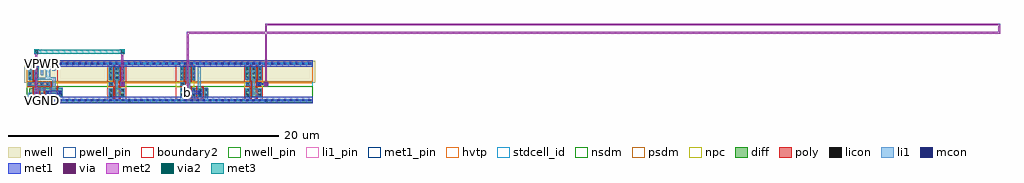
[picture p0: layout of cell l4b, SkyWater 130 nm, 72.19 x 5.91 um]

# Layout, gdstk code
import gdstk
lib = gdstk.Library(unit=1e-6, precision=1e-09)
def R(c, l, rs):  # rectangles x0, y0, x1, y1
    for r in rs: c.add(gdstk.rectangle(r[:2], r[2:], *l))
def A(c, l, x, y, w, h, nx, ny, dx, dy):  # array of equal rectangles
    R(c, l, [(x+i*dx, y+j*dy, x+i*dx+w, y+j*dy+h) for i in range(nx) for j in range(ny)])
nwell_pin = (64, 16)
nwell = (64, 20)
diff = (65, 20)
poly = (66, 20)
licon = (66, 44)
li1_pin = (67, 16)
li1 = (67, 20)
mcon = (67, 44)
met1_pin = (68, 16)
met1 = (68, 20)
via = (68, 44)
met2 = (69, 20)
via2 = (69, 44)
met3 = (70, 20)
hvtp = (78, 44)
stdcell_id = (81, 4)
nsdm = (93, 44)
psdm = (94, 20)
npc = (95, 20)
pwell_pin = (122, 16)
boundary2 = (236, 0)

l4b = lib.new_cell('l4b')
R(l4b, nwell_pin, [(7.46,2.61,7.745,2.765), (17.58,2.61,17.865,2.765), (0.145,2.635,0.315,2.805), (6.12,2.635,6.29,2.805), (11.185,2.635,11.355,2.805), (11.185,2.635,11.355,2.805), (16.24,2.635,16.41,2.805), (2.475,2.65,2.6,2.78), (4.315,2.65,4.44,2.78), (12.595,2.65,12.72,2.78), (14.435,2.65,14.56,2.78)])
R(l4b, nwell, [(-0.19,1.305,2.49,2.91), (2.11,1.305,4.33,2.91), (3.95,1.305,6.17,2.91), (5.79,1.305,7.55,2.91), (7.17,1.305,11.23,2.91), (10.85,1.305,12.65,2.91), (12.23,1.305,14.45,2.91), (14.07,1.305,16.29,2.91), (15.91,1.305,17.67,2.91), (17.29,1.305,21.35,2.91)])
R(l4b, diff, [(0.185,0.235,2.64,0.885), (6.135,0.235,7.225,0.885), (11.38,0.235,13.44,0.885), (16.255,0.235,17.345,0.885), (0.185,1.485,0.855,2.485), (6.135,1.485,7.225,2.485), (11.38,1.485,12.47,2.485), (16.255,1.485,17.345,2.485)])
A(l4b, poly, 0.865, 0.105, 0.15, 1.25, 3, 1, 0.42, 0)
A(l4b, poly, 0.595, 0.995, 0.27, 0.33, 3, 1, 0.42, 0)
R(l4b, poly, [(1.705,-0.045,2.37,0.105), (2.22,-0.045,2.37,1.015), (11.64,-0.045,12.21,0.105), (12.06,-0.045,12.21,1.015), (12.06,-0.045,12.69,0.105), (12.54,-0.045,12.69,1.015), (12.54,-0.045,13.11,0.105), (12.96,-0.045,13.11,1.015), (0.445,0.105,0.595,2.615), (6.395,0.105,6.545,2.615), (6.815,0.105,6.965,2.615), (11.64,0.105,11.79,2.615), (16.515,0.105,16.665,2.615), (16.935,0.105,17.085,2.615), (0.105,0.995,0.445,1.325), (6.085,0.995,6.395,1.325), (6.965,0.995,7.255,1.325), (11.36,0.995,11.64,1.325), (16.205,0.995,16.515,1.325), (17.085,0.995,17.375,1.325), (12.06,1.355,12.21,2.765), (11.64,2.615,12.21,2.765)])
A(l4b, licon, 11.42, 0.315, 0.17, 0.17, 3, 2, 0.42, 0.34)
A(l4b, licon, 0.645, 1.075, 0.17, 0.17, 3, 1, 0.42, 0)
A(l4b, licon, 0.225, 1.575, 0.17, 0.17, 1, 3, 0, 0.34)
A(l4b, licon, 0.645, 1.575, 0.17, 0.17, 1, 3, 0, 0.34)
A(l4b, licon, 6.175, 1.575, 0.17, 0.17, 3, 3, 0.42, 0.34)
A(l4b, licon, 11.42, 1.575, 0.17, 0.17, 3, 3, 0.42, 0.34)
A(l4b, licon, 16.295, 1.575, 0.17, 0.17, 3, 3, 0.42, 0.34)
R(l4b, licon, [(0.225,0.295,0.395,0.465), (1.065,0.295,1.235,0.465), (6.175,0.295,6.345,0.465), (7.015,0.295,7.185,0.465), (16.295,0.295,16.465,0.465), (17.135,0.295,17.305,0.465), (1.905,0.3,2.075,0.47), (12.74,0.315,12.91,0.485), (13.22,0.315,13.39,0.485), (0.645,0.335,0.815,0.505), (1.485,0.335,1.655,0.505), (2.42,0.335,2.59,0.505), (6.175,0.635,6.345,0.805), (7.015,0.635,7.185,0.805), (16.295,0.635,16.465,0.805), (17.135,0.635,17.305,0.805), (12.74,0.655,12.91,0.825), (13.22,0.655,13.39,0.825), (0.185,1.075,0.355,1.245), (6.16,1.075,6.33,1.245), (7,1.075,7.17,1.245), (11.44,1.075,11.61,1.245), (16.28,1.075,16.45,1.245), (17.12,1.075,17.29,1.245)])
A(l4b, li1_pin, 0.145, 1.105, 0.17, 0.17, 5, 1, 0.46, 0)
A(l4b, li1_pin, 6.12, 1.105, 0.17, 0.17, 3, 1, 0.46, 0)
A(l4b, li1_pin, 16.24, 1.105, 0.17, 0.17, 3, 1, 0.46, 0)
R(l4b, li1_pin, [(6.58,0.425,6.75,0.595), (16.7,0.425,16.87,0.595), (1.985,0.765,2.155,0.935), (6.58,0.765,6.75,0.935), (16.7,0.765,16.87,0.935), (11.4,1.105,11.57,1.275), (11.86,1.105,12.03,1.275), (1.985,1.445,2.155,1.615), (11.86,1.445,12.03,1.615)])
A(l4b, li1, 11.36, 0.005, 0.23, 0.9, 3, 1, 0.9, 0)
R(l4b, li1, [(0,-0.085,0.13,0.085), (0.13,-0.085,0.395,0.545), (0.395,-0.085,1.065,0.085), (1.065,-0.085,1.235,0.545), (1.235,-0.085,1.905,0.085), (1.905,-0.085,2.155,0.55), (2.155,-0.085,2.3,0.085), (2.3,-0.085,4.14,0.085), (4.14,-0.085,5.98,0.085), (5.98,-0.085,6.065,0.085), (6.065,-0.085,6.375,0.885), (6.375,-0.085,7.36,0.085), (7.36,-0.085,11.04,0.085), (11.04,-0.085,12.42,0.085), (12.42,-0.085,14.26,0.085), (14.26,-0.085,16.1,0.085), (16.1,-0.085,16.185,0.085), (16.185,-0.085,16.495,0.885), (16.495,-0.085,17.48,0.085), (17.48,-0.085,21.16,0.085), (0.565,0.255,0.895,0.905), (1.405,0.255,1.735,0.905), (2.34,0.255,2.67,0.905), (6.58,0.255,6.75,2.465), (6.75,0.255,6.845,0.885), (6.845,0.255,7.275,0.885), (11.76,0.255,11.86,0.885), (11.86,0.255,12.09,2.465), (12.66,0.255,12.89,2.465), (12.89,0.255,12.99,0.885), (16.7,0.255,16.87,2.465), (16.87,0.255,16.965,0.885), (16.965,0.255,17.395,0.885), (0.645,0.405,0.815,0.575), (11.84,0.485,12.01,0.655), (0.895,0.725,1.405,0.905), (1.735,0.725,1.905,0.905), (1.905,0.725,2.17,1.685), (6.075,1.055,6.41,1.325), (16.195,1.055,16.53,1.325), (0.105,1.075,1.735,1.325), (6.92,1.075,7.255,1.325), (11.36,1.075,11.69,1.315), (17.04,1.075,17.375,1.325), (7.003,1.115,7.173,1.285), (17.123,1.115,17.293,1.285), (6.515,1.485,6.58,2.465), (6.75,1.485,6.845,2.465), (11.76,1.485,11.86,2.465), (16.635,1.485,16.7,2.465), (16.87,1.485,16.965,2.465), (0.13,1.495,0.395,2.805), (0.565,1.495,0.895,2.465), (0.895,1.495,1.405,1.665), (1.405,1.495,1.735,2.465), (1.735,1.495,1.905,1.685), (6.065,1.495,6.345,2.805), (7.015,1.495,7.275,2.805), (11.38,1.495,11.59,2.675), (12.26,1.495,12.47,2.675), (16.185,1.495,16.465,2.805), (17.135,1.495,17.395,2.805), (1.065,1.835,1.235,2.805), (1.905,2.175,2.115,2.805), (0,2.635,0.13,2.805), (0.395,2.635,1.065,2.805), (1.235,2.635,1.905,2.805), (2.115,2.635,2.3,2.805), (2.3,2.635,4.14,2.805), (4.14,2.635,5.98,2.805), (5.98,2.635,6.065,2.805), (6.345,2.635,7.015,2.805), (7.275,2.635,7.36,2.805), (7.36,2.635,11.04,2.805), (11.04,2.635,12.42,2.805), (12.42,2.635,14.26,2.805), (14.26,2.635,16.1,2.805), (16.1,2.635,16.185,2.805), (16.465,2.635,17.135,2.805), (17.395,2.635,17.48,2.805), (17.48,2.635,21.16,2.805)])
A(l4b, mcon, 0.145, -0.085, 0.17, 0.17, 46, 2, 0.46, 2.72)
R(l4b, mcon, [(0.645,0.405,0.815,0.575), (1.485,0.485,1.655,0.655), (2.42,0.485,2.59,0.655), (11.84,0.485,12.01,0.655), (12.69,0.485,12.86,0.655), (7.003,1.115,7.173,1.285), (17.123,1.115,17.293,1.285)])
R(l4b, met1_pin, [(7.535,-0.1,7.695,0.05), (17.655,-0.1,17.815,0.05), (0.145,-0.085,0.315,0.085), (6.12,-0.085,6.29,0.085), (11.185,-0.085,11.355,0.085), (11.185,-0.085,11.355,0.085), (16.24,-0.085,16.41,0.085), (2.47,-0.05,2.585,0.045), (4.31,-0.05,4.425,0.045), (12.59,-0.05,12.705,0.045), (14.43,-0.05,14.545,0.045), (7.505,2.615,7.695,2.775), (17.625,2.615,17.815,2.775), (0.145,2.635,0.315,2.805), (6.12,2.635,6.29,2.805), (11.185,2.635,11.355,2.805), (11.185,2.635,11.355,2.805), (16.24,2.635,16.41,2.805), (2.47,2.675,2.57,2.76), (4.31,2.675,4.41,2.76), (12.59,2.675,12.69,2.76), (14.43,2.675,14.53,2.76)])
A(l4b, met1, 5.98, -0.24, 1.38, 0.48, 3, 2, 5.06, 2.72)
R(l4b, met1, [(0,-0.24,2.3,0.24), (2.3,-0.24,4.14,0.24), (4.14,-0.24,5.98,0.24), (7.36,-0.24,11.04,0.24), (12.42,-0.24,14.26,0.24), (14.26,-0.24,16.1,0.24), (17.48,-0.24,21.16,0.24), (0.57,0.36,0.89,0.62), (0.585,0.375,0.875,0.605), (0.66,0.42,0.8,0.56), (0.66,0.42,0.8,0.56), (0.66,0.42,0.8,0.56), (0.66,0.42,0.8,0.56), (11.765,0.44,12.085,0.7), (1.455,0.455,2.62,0.685), (11.78,0.455,12.07,0.685), (11.86,0.455,12.89,0.685), (11.855,0.5,11.995,0.64), (11.855,0.5,11.995,0.64), (11.855,0.5,11.995,0.64), (11.855,0.5,11.995,0.64), (6.928,1.07,7.248,1.33), (17.548,1.07,17.868,1.33), (6.943,1.085,7.233,1.315), (17.063,1.085,17.353,1.315), (7.018,1.13,7.158,1.27), (7.018,1.13,7.158,1.27), (7.018,1.13,7.158,1.27), (7.018,1.13,7.158,1.27), (17.138,1.13,17.278,1.27), (17.138,1.13,17.778,1.27), (0,2.48,2.3,2.96), (2.3,2.48,4.14,2.96), (4.14,2.48,5.98,2.96), (7.36,2.48,11.04,2.96), (12.42,2.48,14.26,2.96), (14.26,2.48,16.1,2.96), (17.48,2.48,21.16,2.96)])
R(l4b, via, [(0.655,0.415,0.805,0.565), (11.85,0.495,12,0.645), (7.013,1.125,7.163,1.275), (17.633,1.125,17.783,1.275)])
R(l4b, met2, [(0.6,0.33,0.86,0.65), (11.795,0.41,12.055,0.73), (0.66,0.42,0.8,3.67), (11.855,0.5,11.995,5.07), (6.958,1.04,7.218,1.36), (17.578,1.04,17.838,1.36), (7.018,1.13,7.158,3.67), (17.638,1.13,17.778,1.27), (17.638,1.13,17.778,5.67), (0.59,3.415,0.87,3.785), (6.948,3.415,7.228,3.785), (0.66,3.53,0.8,3.67), (11.855,4.93,71.995,5.07), (71.855,4.93,71.995,5.67), (17.638,5.53,71.995,5.67)])
R(l4b, via2, [(0.63,3.5,0.83,3.7), (6.988,3.5,7.188,3.7)])
R(l4b, met3, [(0.565,3.435,0.895,3.765), (6.923,3.435,7.253,3.765), (0.58,3.45,7.238,3.75), (6.938,3.45,7.238,3.75)])
A(l4b, hvtp, 5.98, 1.25, 1.38, 1.47, 3, 1, 5.06, 0)
R(l4b, hvtp, [(0,1.25,2.3,2.72), (2.3,1.25,4.14,2.72), (4.14,1.25,5.98,2.72), (7.36,1.25,11.04,2.72), (12.42,1.25,14.26,2.72), (14.26,1.25,16.1,2.72), (17.48,1.25,21.16,2.72)])
A(l4b, stdcell_id, 5.98, 0, 1.38, 2.72, 3, 1, 5.06, 0)
R(l4b, stdcell_id, [(0,0,2.3,2.72), (2.3,0,4.14,2.72), (4.14,0,5.98,2.72), (7.36,0,11.04,2.72), (12.42,0,14.26,2.72), (14.26,0,16.1,2.72), (17.48,0,21.16,2.72)])
R(l4b, nsdm, [(0,-0.19,2.765,1.015), (2.3,-0.19,4.14,1.015), (4.14,-0.19,5.98,1.015), (5.98,-0.19,7.36,1.015), (7.36,-0.19,11.04,1.015), (11.04,-0.19,13.565,1.015), (12.42,-0.19,14.26,1.015), (14.26,-0.19,16.1,1.015), (16.1,-0.19,17.48,1.015), (17.48,-0.19,21.16,1.015)])
R(l4b, psdm, [(0,1.355,2.3,2.91), (2.3,1.355,4.14,2.91), (4.14,1.355,5.98,2.91), (5.98,1.355,7.36,2.91), (7.36,1.355,11.04,2.91), (11.04,1.355,12.595,2.91), (12.42,1.355,14.26,2.91), (14.26,1.355,16.1,2.91), (16.1,1.355,17.48,2.91), (17.48,1.355,21.16,2.91)])
A(l4b, npc, 5.98, 0.975, 1.38, 0.37, 3, 1, 5.06, 0)
R(l4b, npc, [(0,0.975,2.3,1.345)])
R(l4b, pwell_pin, [(7.49,-0.12,7.71,0.05), (17.61,-0.12,17.83,0.05), (0.145,-0.085,0.315,0.085), (6.12,-0.085,6.29,0.085), (11.185,-0.085,11.355,0.085), (11.185,-0.085,11.355,0.085), (16.24,-0.085,16.41,0.085), (2.475,-0.06,2.585,0.06), (4.315,-0.06,4.425,0.06), (12.595,-0.06,12.705,0.06), (14.435,-0.06,14.545,0.06)])
A(l4b, boundary2, 5.98, 0, 1.38, 2.72, 3, 1, 5.06, 0)
R(l4b, boundary2, [(0,0,2.3,2.72)])
l4b.add(gdstk.Label('VPWR', (1.15,2.72), layer=67, texttype=20))
l4b.add(gdstk.Label('VGND', (1.15,0), layer=67, texttype=20))
l4b.add(gdstk.Label('a', (0.73,0.49), layer=67, texttype=20))
l4b.add(gdstk.Label('b', (11.925,0.57), layer=67, texttype=20))

lib.write_gds('l4b.gds')
